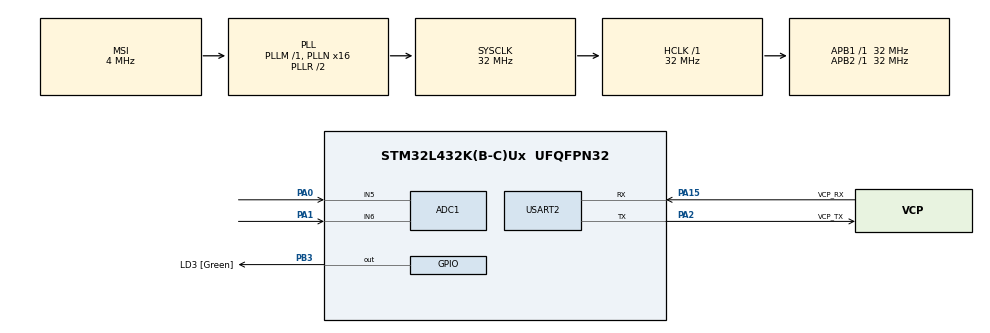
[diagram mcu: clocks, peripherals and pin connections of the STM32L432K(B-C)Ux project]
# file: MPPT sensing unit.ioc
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ADC1.Channel-0\#ChannelRegularConversion=ADC_CHANNEL_5
ADC1.Channel-1\#ChannelRegularConversion=ADC_CHANNEL_6
ADC1.NbrOfConversion=2
ADC1.NbrOfConversionFlag=1
ADC1.OffsetNumber-0\#ChannelRegularConversion=ADC_OFFSET_NONE
ADC1.OffsetNumber-1\#ChannelRegularConversion=ADC_OFFSET_NONE
ADC1.Rank-0\#ChannelRegularConversion=1
ADC1.Rank-1\#ChannelRegularConversion=2
ADC1.SamplingTime-0\#ChannelRegularConversion=ADC_SAMPLETIME_640CYCLES_5
ADC1.SamplingTime-1\#ChannelRegularConversion=ADC_SAMPLETIME_640CYCLES_5
ADC1.master=1
Dma.ADC1.0.Direction=DMA_PERIPH_TO_MEMORY
Dma.ADC1.0.Instance=DMA1_Channel1
Dma.ADC1.0.MemDataAlignment=DMA_MDATAALIGN_HALFWORD
Dma.ADC1.0.MemInc=DMA_MINC_ENABLE
Dma.ADC1.0.Mode=DMA_CIRCULAR
Dma.ADC1.0.PeriphDataAlignment=DMA_PDATAALIGN_HALFWORD
Dma.ADC1.0.PeriphInc=DMA_PINC_DISABLE
Dma.ADC1.0.Priority=DMA_PRIORITY_LOW
Dma.Request0=ADC1
Mcu.Family=STM32L4
Mcu.Name=STM32L432K(B-C)Ux
Mcu.Package=UFQFPN32
NVIC.ADC1_IRQn=true\:1\:0\:true\:false\:true\:true\:true\:true
NVIC.DMA1_Channel1_IRQn=true\:0\:0\:false\:false\:true\:false\:true\:true
NVIC.PriorityGroup=NVIC_PRIORITYGROUP_4
PA0.Signal=ADCx_IN5
PA1.Signal=ADCx_IN6
PA13\ (JTMS-SWDIO).GPIO_Label=SWDIO
PA13\ (JTMS-SWDIO).Mode=Serial_Wire
PA13\ (JTMS-SWDIO).Signal=SYS_JTMS-SWDIO
PA14\ (JTCK-SWCLK).GPIO_Label=SWCLK
PA14\ (JTCK-SWCLK).Mode=Serial_Wire
PA14\ (JTCK-SWCLK).Signal=SYS_JTCK-SWCLK
PA15\ (JTDI).GPIO_Label=VCP_RX
PA15\ (JTDI).Mode=Asynchronous
PA15\ (JTDI).Signal=USART2_RX
PA2.GPIO_Label=VCP_TX
PA2.Mode=Asynchronous
PA2.Signal=USART2_TX
PB3\ (JTDO-TRACESWO).GPIO_Label=LD3 [Green]
PB3\ (JTDO-TRACESWO).Signal=GPIO_Output
PC14-OSC32_IN\ (PC14).Mode=LSE-External-Oscillator
PC14-OSC32_IN\ (PC14).Signal=RCC_OSC32_IN
PC15-OSC32_OUT\ (PC15).Mode=LSE-External-Oscillator
PC15-OSC32_OUT\ (PC15).Signal=RCC_OSC32_OUT
ProjectManager.HeapSize=0x200
ProjectManager.StackSize=0x400
ProjectManager.TargetToolchain=STM32CubeIDE
RCC.ADCFreq_Value=32000000
RCC.AHBFreq_Value=32000000
RCC.APB1Freq_Value=32000000
RCC.APB1TimFreq_Value=32000000
RCC.APB2Freq_Value=32000000
RCC.APB2TimFreq_Value=32000000
RCC.CortexFreq_Value=32000000
RCC.HCLKFreq_Value=32000000
RCC.HSE_VALUE=8000000
RCC.HSI16_VALUE=16000000
RCC.HSI48_VALUE=48000000
RCC.HSI_VALUE=16000000
RCC.MSI_VALUE=4000000
RCC.PLLMUL=RCC_PLLMUL_4
RCC.PLLN=16
RCC.PLLSAI1N=16
RCC.SYSCLKFreq_VALUE=32000000
RCC.SYSCLKSource=RCC_SYSCLKSOURCE_PLLCLK
RCC.USBFreq_Value=32000000
RCC.VCOOutputFreq_Value=64000000
SH.ADCx_IN5.0=ADC1_IN5,IN5-Single-Ended
SH.ADCx_IN6.0=ADC1_IN6,IN6-Single-Ended
USART2.VirtualMode-Asynchronous=VM_ASYNC
board=NUCLEO-L432KC

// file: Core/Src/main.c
/* USER CODE BEGIN Header */
/**
  ******************************************************************************
  * @file           : main.c
  * @brief          : Main program body
  ******************************************************************************
  * @attention
  *
  * Copyright (c) 2023 STMicroelectronics.
  * All rights reserved.
  *
  * This software is licensed under terms that can be found in the LICENSE file
  * in the root directory of this software component.
  * If no LICENSE file comes with this software, it is provided AS-IS.
  *
  ******************************************************************************
  */
/* USER CODE END Header */
#include "main.h"

/* USER CODE BEGIN Includes */
#include <stdio.h>
#include <string.h>
/* USER CODE END Includes */

ADC_HandleTypeDef hadc1;
DMA_HandleTypeDef hdma_adc1;

UART_HandleTypeDef huart2;

/* USER CODE BEGIN PV */
uint16_t currentE;
uint16_t currentF;
uint16_t rawValues[2];
uint16_t rawE;
uint16_t rawF;
uint16_t voltageE;
uint16_t voltageF;
const float offset = 322;
const float Vref = 3.3;
const float twelfBitADC = 4096;
const float unitValue = Vref / twelfBitADC * 1000;
const float sensitivity = 1000.0 / 264.0;// 1000mA per 265 mV
char msg[20];
/* USER CODE END PV */

void SystemClock_Config(void);
static void MX_GPIO_Init(void);
static void MX_DMA_Init(void);
static void MX_USART2_UART_Init(void);
static void MX_ADC1_Init(void);

/* USER CODE BEGIN 0 */
uint8_t convCompleted = 0;
void HAL_ADC_ConvCpltCallback(ADC_HandleTypeDef *hadc)
{
	convCompleted = 1;
}
/* USER CODE END 0 */

int main(void)
{

  /* MCU Configuration--------------------------------------------------------*/

  /* Reset of all peripherals, Initializes the Flash interface and the Systick. */
  HAL_Init();

  /* Configure the system clock */
  SystemClock_Config();

  /* Initialize all configured peripherals */
  MX_GPIO_Init();
  MX_DMA_Init();
  MX_USART2_UART_Init();
  MX_ADC1_Init();
  /* USER CODE BEGIN 2 */
  //HAL_ADC_Start_DMA(&hadc1, (uint32_t *) rawValues, 2);
  /* USER CODE END 2 */

  /* Infinite loop */
  while (1)
  {

    /* USER CODE BEGIN 3 */
	  HAL_ADC_Start_DMA(&hadc1, (uint32_t *) rawValues, 2);
	  while(!convCompleted);

	  for(uint8_t i=0; i<hadc1.Init.NbrOfConversion; i++){
		  rawE = (uint16_t) rawValues[0];
		  rawF = (uint16_t) rawValues[1];
	  }

	  voltageE = unitValue * rawE;
	  voltageF = unitValue * rawF;

	  currentE = (voltageE - offset) * sensitivity;
	  currentF = (voltageF - offset) * sensitivity;

	  sprintf(msg, "rawE: %hu ", rawE);
	  HAL_UART_Transmit(&huart2, (uint8_t *) msg, strlen(msg), HAL_MAX_DELAY);

	  sprintf(msg, "\trawF: %hu ", rawF);
	  HAL_UART_Transmit(&huart2, (uint8_t *) msg, strlen(msg), HAL_MAX_DELAY);\

	  sprintf(msg, "\tvoltageE: %hu ", voltageE);
	  HAL_UART_Transmit(&huart2, (uint8_t *) msg, strlen(msg), HAL_MAX_DELAY);

	  sprintf(msg, "\tvoltageF: %hu ", voltageF);
	  HAL_UART_Transmit(&huart2, (uint8_t *) msg, strlen(msg), HAL_MAX_DELAY);

	  sprintf(msg, "\tcurrentE: %hu ", currentE);
	  HAL_UART_Transmit(&huart2, (uint8_t *) msg, strlen(msg), HAL_MAX_DELAY);

	  sprintf(msg, "\tcurrentF: %hu \r\n", currentF);
	  HAL_UART_Transmit(&huart2, (uint8_t *) msg, strlen(msg), HAL_MAX_DELAY);

	  HAL_Delay(250);
  }
  /* USER CODE END 3 */
}

void SystemClock_Config(void)
{
  RCC_OscInitTypeDef RCC_OscInitStruct = {0};
  RCC_ClkInitTypeDef RCC_ClkInitStruct = {0};

  /** Configure the main internal regulator output voltage
  */
  if (HAL_PWREx_ControlVoltageScaling(PWR_REGULATOR_VOLTAGE_SCALE1) != HAL_OK)
  {
    Error_Handler();
  }

  /** Configure LSE Drive Capability
  */
  HAL_PWR_EnableBkUpAccess();
  __HAL_RCC_LSEDRIVE_CONFIG(RCC_LSEDRIVE_LOW);

  /** Initializes the RCC Oscillators according to the specified parameters
  * in the RCC_OscInitTypeDef structure.
  */
  RCC_OscInitStruct.OscillatorType = RCC_OSCILLATORTYPE_LSE|RCC_OSCILLATORTYPE_MSI;
  RCC_OscInitStruct.LSEState = RCC_LSE_ON;
  RCC_OscInitStruct.MSIState = RCC_MSI_ON;
  RCC_OscInitStruct.MSICalibrationValue = 0;
  RCC_OscInitStruct.MSIClockRange = RCC_MSIRANGE_6;
  RCC_OscInitStruct.PLL.PLLState = RCC_PLL_ON;
  RCC_OscInitStruct.PLL.PLLSource = RCC_PLLSOURCE_MSI;
  RCC_OscInitStruct.PLL.PLLM = 1;
  RCC_OscInitStruct.PLL.PLLN = 16;
  RCC_OscInitStruct.PLL.PLLP = RCC_PLLP_DIV7;
  RCC_OscInitStruct.PLL.PLLQ = RCC_PLLQ_DIV2;
  RCC_OscInitStruct.PLL.PLLR = RCC_PLLR_DIV2;
  if (HAL_RCC_OscConfig(&RCC_OscInitStruct) != HAL_OK)
  {
    Error_Handler();
  }

  /** Initializes the CPU, AHB and APB buses clocks
  */
  RCC_ClkInitStruct.ClockType = RCC_CLOCKTYPE_HCLK|RCC_CLOCKTYPE_SYSCLK
                              |RCC_CLOCKTYPE_PCLK1|RCC_CLOCKTYPE_PCLK2;
  RCC_ClkInitStruct.SYSCLKSource = RCC_SYSCLKSOURCE_PLLCLK;
  RCC_ClkInitStruct.AHBCLKDivider = RCC_SYSCLK_DIV1;
  RCC_ClkInitStruct.APB1CLKDivider = RCC_HCLK_DIV1;
  RCC_ClkInitStruct.APB2CLKDivider = RCC_HCLK_DIV1;

  if (HAL_RCC_ClockConfig(&RCC_ClkInitStruct, FLASH_LATENCY_1) != HAL_OK)
  {
    Error_Handler();
  }

  /** Enable MSI Auto calibration
  */
  HAL_RCCEx_EnableMSIPLLMode();
}

static void MX_ADC1_Init(void)
{

  ADC_ChannelConfTypeDef sConfig = {0};

  /** Common config
  */
  hadc1.Instance = ADC1;
  hadc1.Init.ClockPrescaler = ADC_CLOCK_ASYNC_DIV1;
  hadc1.Init.Resolution = ADC_RESOLUTION_12B;
  hadc1.Init.DataAlign = ADC_DATAALIGN_RIGHT;
  hadc1.Init.ScanConvMode = ADC_SCAN_ENABLE;
  hadc1.Init.EOCSelection = ADC_EOC_SINGLE_CONV;
  hadc1.Init.LowPowerAutoWait = DISABLE;
  hadc1.Init.ContinuousConvMode = DISABLE;
  hadc1.Init.NbrOfConversion = 2;
  hadc1.Init.DiscontinuousConvMode = DISABLE;
  hadc1.Init.ExternalTrigConv = ADC_SOFTWARE_START;
  hadc1.Init.ExternalTrigConvEdge = ADC_EXTERNALTRIGCONVEDGE_NONE;
  hadc1.Init.DMAContinuousRequests = DISABLE;
  hadc1.Init.Overrun = ADC_OVR_DATA_PRESERVED;
  hadc1.Init.OversamplingMode = DISABLE;
  if (HAL_ADC_Init(&hadc1) != HAL_OK)
  {
    Error_Handler();
  }

  /** Configure Regular Channel
  */
  sConfig.Channel = ADC_CHANNEL_5;
  sConfig.Rank = ADC_REGULAR_RANK_1;
  sConfig.SamplingTime = ADC_SAMPLETIME_640CYCLES_5;
  sConfig.SingleDiff = ADC_SINGLE_ENDED;
  sConfig.OffsetNumber = ADC_OFFSET_NONE;
  sConfig.Offset = 0;
  if (HAL_ADC_ConfigChannel(&hadc1, &sConfig) != HAL_OK)
  {
    Error_Handler();
  }

  /** Configure Regular Channel
  */
  sConfig.Channel = ADC_CHANNEL_6;
  sConfig.Rank = ADC_REGULAR_RANK_2;
  if (HAL_ADC_ConfigChannel(&hadc1, &sConfig) != HAL_OK)
  {
    Error_Handler();
  }

}

static void MX_USART2_UART_Init(void)
{

  huart2.Instance = USART2;
  huart2.Init.BaudRate = 115200;
  huart2.Init.WordLength = UART_WORDLENGTH_8B;
  huart2.Init.StopBits = UART_STOPBITS_1;
  huart2.Init.Parity = UART_PARITY_NONE;
  huart2.Init.Mode = UART_MODE_TX_RX;
  huart2.Init.HwFlowCtl = UART_HWCONTROL_NONE;
  huart2.Init.OverSampling = UART_OVERSAMPLING_16;
  huart2.Init.OneBitSampling = UART_ONE_BIT_SAMPLE_DISABLE;
  huart2.AdvancedInit.AdvFeatureInit = UART_ADVFEATURE_NO_INIT;
  if (HAL_UART_Init(&huart2) != HAL_OK)
  {
    Error_Handler();
  }

}

static void MX_DMA_Init(void)
{

  /* DMA controller clock enable */
  __HAL_RCC_DMA1_CLK_ENABLE();

  /* DMA interrupt init */
  /* DMA1_Channel1_IRQn interrupt configuration */
  HAL_NVIC_SetPriority(DMA1_Channel1_IRQn, 0, 0);
  HAL_NVIC_EnableIRQ(DMA1_Channel1_IRQn);

}

static void MX_GPIO_Init(void)
{
  GPIO_InitTypeDef GPIO_InitStruct = {0};

  /* GPIO Ports Clock Enable */
  __HAL_RCC_GPIOC_CLK_ENABLE();
  __HAL_RCC_GPIOA_CLK_ENABLE();
  __HAL_RCC_GPIOB_CLK_ENABLE();

  /*Configure GPIO pin Output Level */
  HAL_GPIO_WritePin(LD3_GPIO_Port, LD3_Pin, GPIO_PIN_RESET);

  /*Configure GPIO pin : LD3_Pin */
  GPIO_InitStruct.Pin = LD3_Pin;
  GPIO_InitStruct.Mode = GPIO_MODE_OUTPUT_PP;
  GPIO_InitStruct.Pull = GPIO_NOPULL;
  GPIO_InitStruct.Speed = GPIO_SPEED_FREQ_LOW;
  HAL_GPIO_Init(LD3_GPIO_Port, &GPIO_InitStruct);

}

void Error_Handler(void)
{
  __disable_irq();
  while (1)
  {
  }
}
